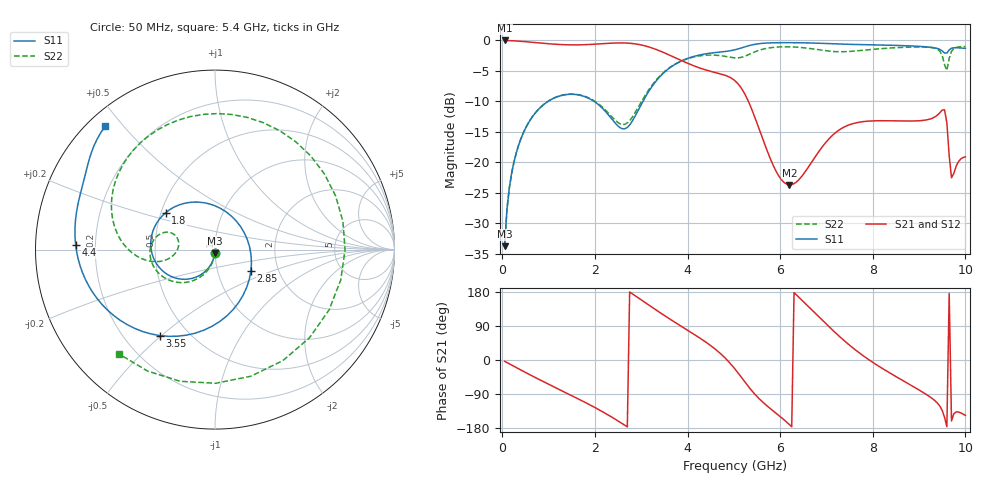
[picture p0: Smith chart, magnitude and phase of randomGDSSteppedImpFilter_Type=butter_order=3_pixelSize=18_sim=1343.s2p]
! freq	dB(S11)	phase(S11)	dB(S12)	phase(S12)
!  dB(S21)	phase(S21)	dB(S22)	phase(S22)
!S-par simulation data
#  GHz  S  DB  R 50
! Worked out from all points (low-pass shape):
!   200 points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, 50 MHz to 10 GHz, reference 50 ohm
!   highest |S21| = -0.01 dB at 50 MHz (marker M1); lowest = -23.7 dB at 6.2 GHz (marker M2)
!   |S21| within 3 dB of the highest: start of sweep to 3.782 GHz
!   lowest |S11| = -33.7 dB at 50 MHz (marker M3), VSWR 1.04, Z = 49.8 - j2.04 ohm
!   |S11| at or under -10 dB: start of sweep to 989.1 MHz; 1.981 GHz to 3.036 GHz (1.054 GHz wide, 42 % of centre)
!   |S22| runs from -33.8 to -1.0 dB; largest |S21 - S12| = 0
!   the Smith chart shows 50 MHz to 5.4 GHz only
!   S11 on the Smith chart (normalised r, x): 50 MHz: 1.00, -0.04; 1.8 GHz: 0.53, +0.25; 2.85 GHz: 1.45, -0.36; 3.55 GHz: 0.35, -0.49; 4.4 GHz: 0.13, +0.02; 5.4 GHz: 0.05, +0.45
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0.05  -33.75 -93.4  -0.01 -3.4  -0.01 -3.4  -33.75 -93.0
0.2  -21.88 -104.3  -0.05 -13.3  -0.05 -13.3  -21.87 -102.7
0.5  -14.43 -125.3  -0.21 -32.8  -0.21 -32.8  -14.43 -121.2
1.75  -9.15 147.5  -0.71 -109.4  -0.71 -109.4  -9.09 173.3
1.8  -9.28 143.4  -0.70 -112.5  -0.70 -112.5  -9.22 171.2
2.85  -12.66 -30.8  -0.55 171.2  -0.55 171.2  -12.07 -170.1
3.4  -5.98 -108.5  -1.72 125.5  -1.72 125.5  -5.85 176.6
3.55  -4.89 -122.7  -2.20 113.4  -2.20 113.4  -4.81 167.1
4.4  -2.20 178.1  -4.86 46.7  -4.86 46.7  -2.43 94.9
4.75  -1.87 160.7  -5.57 12.6  -5.57 12.6  -2.54 44.3
5.05  -1.49 148.2  -6.80 -27.8  -6.80 -27.8  -2.87 -27.9
5.25  -1.03 139.3  -8.99 -59.9  -8.99 -59.9  -2.56 -89.7
5.4  -0.72 131.6  -11.56 -82.8  -11.56 -82.8  -2.05 -132.5
5.7  -0.44 115.7  -17.71 -119.3  -17.71 -119.3  -1.31 163.5
6.2  -0.37 90.6  -23.69 -170.5  -23.69 -170.5  -1.05 90.1
6.7  -0.43 66.1  -19.74 130.0  -19.74 130.0  -1.39 16.5
7  -0.51 51.4  -16.60 94.4  -16.60 94.4  -1.72 -35.8
7.35  -0.61 34.2  -14.34 54.6  -14.34 54.6  -1.86 -98.6
7.8  -0.70 11.7  -13.31 10.6  -13.31 10.6  -1.61 -165.4
8.35  -0.79 -17.5  -13.18 -32.9  -13.18 -32.9  -1.26 136.1
9.05  -1.00 -58.3  -13.15 -82.8  -13.15 -82.8  -1.08 77.8
10  -1.31 -123.5  -19.10 -146.2  -19.10 -146.2  -1.01 13.2
